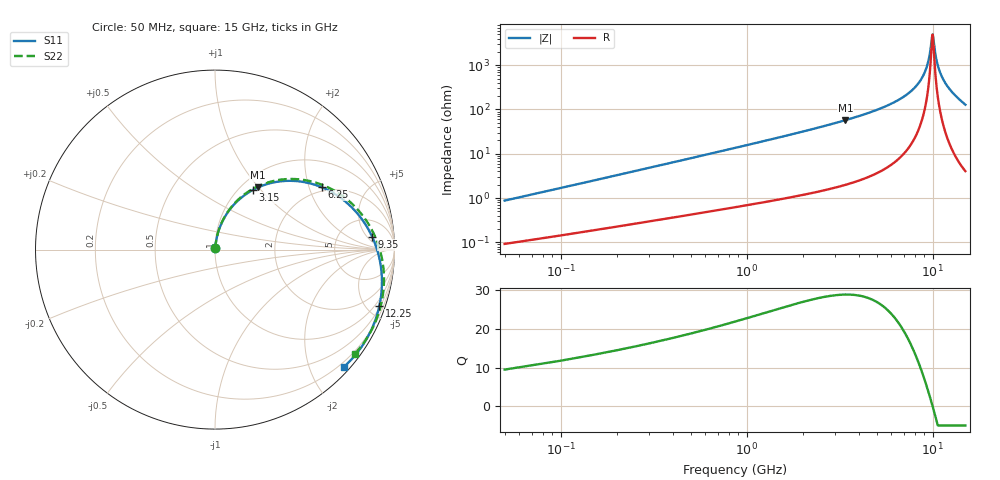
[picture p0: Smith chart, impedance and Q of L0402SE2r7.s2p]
!	AVX Thin Film Operation
!	Date:		5 January 2004
!	Description: 	Accu-L®  L0402 Series Thin Film RF Inductors
!	Part Number:	L04022R7AHNTR
!	50 MHz-20GHz Serial Measurements
#	mhz	S	db	R	50
!	S11	S11	S21	S21	S12	S12	S22	S22
!	dB	Phase	dB	Phase	dB	Phase	dB	Phase
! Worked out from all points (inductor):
!   300 points, 50 MHz to 15 GHz, reference 50 ohm
!   read as 1/Y11, port 2 shorted: L = 2.62 nH near 100 MHz
!   highest Q = 28.9 at 3.4 GHz (marker M1), where L = 2.68 nH
!   self-resonance near 9.95 GHz
!   S11 on the Smith chart (normalised r, x): 50 MHz: 1.00, +0.02; 3.15 GHz: 1.15, +0.91; 6.25 GHz: 1.84, +2.43; 9.35 GHz: 11, +7; 12.25 GHz: 0.59, -5.92; 15 GHz: 0.11, -2.58
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50  -42.15 82.7  -0.01 -0.6  -0.01 -0.6  -42.15 82.7
100  -36.50 83.5  -0.01 -1.1  -0.01 -1.1  -36.50 83.5
150  -33.17 83.6  -0.02 -1.6  -0.02 -1.6  -33.17 83.6
250  -28.95 83.2  -0.03 -2.6  -0.03 -2.6  -28.95 83.3
400  -25.04 82.2  -0.04 -4.0  -0.04 -4.0  -25.04 82.3
650  -21.00 80.2  -0.08 -6.5  -0.08 -6.5  -21.00 80.4
1400  -14.62 73.6  -0.23 -13.7  -0.23 -13.7  -14.62 74.0
2550  -9.75 63.0  -0.60 -24.4  -0.60 -24.4  -9.75 63.8
3150  -8.10 57.6  -0.87 -29.8  -0.87 -29.8  -8.10 58.5
3400  -7.51 55.3  -1.00 -32.1  -1.00 -32.1  -7.51 56.3
5050  -4.64 40.7  -2.05 -46.6  -2.05 -46.6  -4.64 42.1
6250  -3.25 30.4  -3.08 -56.7  -3.08 -56.7  -3.25 32.2
7550  -2.16 19.5  -4.49 -67.2  -4.49 -67.2  -2.16 21.7
9350  -1.12 4.7  -7.18 -81.2  -7.18 -81.2  -1.12 7.5
10050  -0.84 -1.0  -8.58 -86.3  -8.58 -86.3  -0.84 2.1
11300  -0.46 -11.2  -11.97 -94.9  -11.97 -94.9  -0.46 -7.6
12250  -0.28 -19.0  -16.06 -100.0  -16.06 -100.0  -0.28 -14.9
12550  -0.24 -21.5  -17.91 -100.7  -17.91 -100.7  -0.24 -17.2
13200  -0.19 -26.9  -24.22 -96.5  -24.22 -96.5  -0.18 -22.3
13750  -0.17 -31.5  -34.34 -31.1  -34.34 -31.1  -0.17 -26.7
14350  -0.19 -36.6  -23.58 39.0  -23.58 39.0  -0.19 -31.4
15000  -0.26 -42.3  -17.39 42.2  -17.39 42.2  -0.25 -36.6
